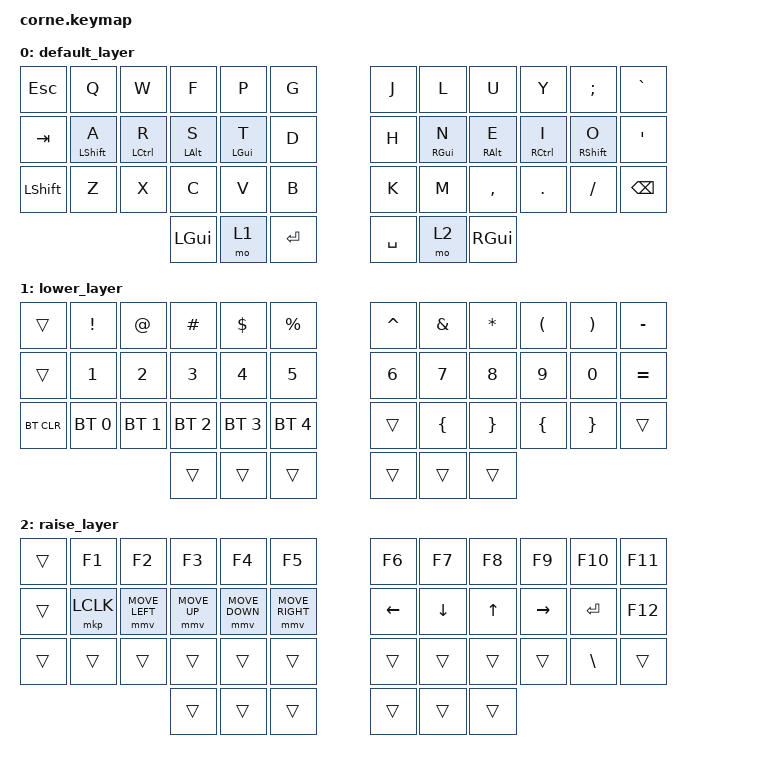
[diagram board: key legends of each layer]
#include <behaviors.dtsi>
#include <dt-bindings/zmk/keys.h>
#include <dt-bindings/zmk/bt.h>
#include <dt-bindings/zmk/pointing.h>

/ {
    behaviors {
        hm: homerow_mods {
            compatible = "zmk,behavior-hold-tap";
            label = "HOMEROW_MODS";
            #binding-cells = <2>;
            tapping-term-ms = <200>;
            quick-tap-ms = <175>;
            flavor = "tap-preferred";
            require-prior-idle-ms = <150>; 
            bindings = <&kp>, <&kp>;
        };
    };

    keymap {
        compatible = "zmk,keymap";

        default_layer {
            // Colemak + HRM + Thumb keys mới
            bindings = <
   &kp ESC   &kp Q         &kp W        &kp F        &kp P         &kp G         &kp J &kp L         &kp U        &kp Y        &kp SEMI      &kp GRAVE
   &kp TAB   &hm LSHIFT A  &hm LCTRL R  &hm LALT S   &hm LGUI T    &kp D         &kp H &hm RGUI N    &hm RALT E   &hm RCTRL I  &hm RSHIFT O  &kp SQT
   &kp LSHFT &kp Z         &kp X        &kp C        &kp V         &kp B         &kp K &kp M         &kp COMMA    &kp DOT      &kp FSLH      &kp BSPC
                                        &kp LGUI     &mo 1         &kp RET       &kp SPACE &mo 2     &kp RGUI
            >;
        };

        lower_layer {
            // Hàng 1: Số + Shift (! @ # $ % ^ & * ( ) )
            // Hàng 2: Số (1 2 3 4 5 6 7 8 9 0)
            // Hàng 3: Bluetooth (Trái) và Ngoặc (Phải)
            bindings = <
   &trans     &kp EXCL     &kp AT       &kp HASH     &kp DLLR     &kp PRCNT      &kp CARET &kp AMPS &kp ASTRK &kp LPAR &kp RPAR &kp MINUS
   &trans     &kp N1       &kp N2       &kp N3       &kp N4       &kp N5         &kp N6    &kp N7   &kp N8    &kp N9   &kp N0   &kp EQUAL
   &bt BT_CLR &bt BT_SEL 0 &bt BT_SEL 1 &bt BT_SEL 2 &bt BT_SEL 3 &bt BT_SEL 4   &trans    &kp LBRC &kp RBRC  &kp LBRC &kp RBRC &trans
                                        &trans       &trans       &trans         &trans    &trans   &trans
            >;
        };

        raise_layer {
            // F-Keys, Điều hướng (Arrows), Enter và Chuột (Mouse)
            bindings = <
   &trans &kp F1     &kp F2          &kp F3        &kp F4          &kp F5             &kp F6   &kp F7   &kp F8   &kp F9    &kp F10  &kp F11
   &trans &mkp LCLK  &mmv MOVE_LEFT  &mmv MOVE_UP  &mmv MOVE_DOWN  &mmv MOVE_RIGHT    &kp LEFT &kp DOWN &kp UP   &kp RIGHT &kp RET  &kp F12
   &trans &trans     &trans          &trans        &trans          &trans             &trans   &trans   &trans   &trans    &kp BSLH &trans
                                     &trans        &trans          &trans             &trans   &trans   &trans
            >;
        };
    };
};
